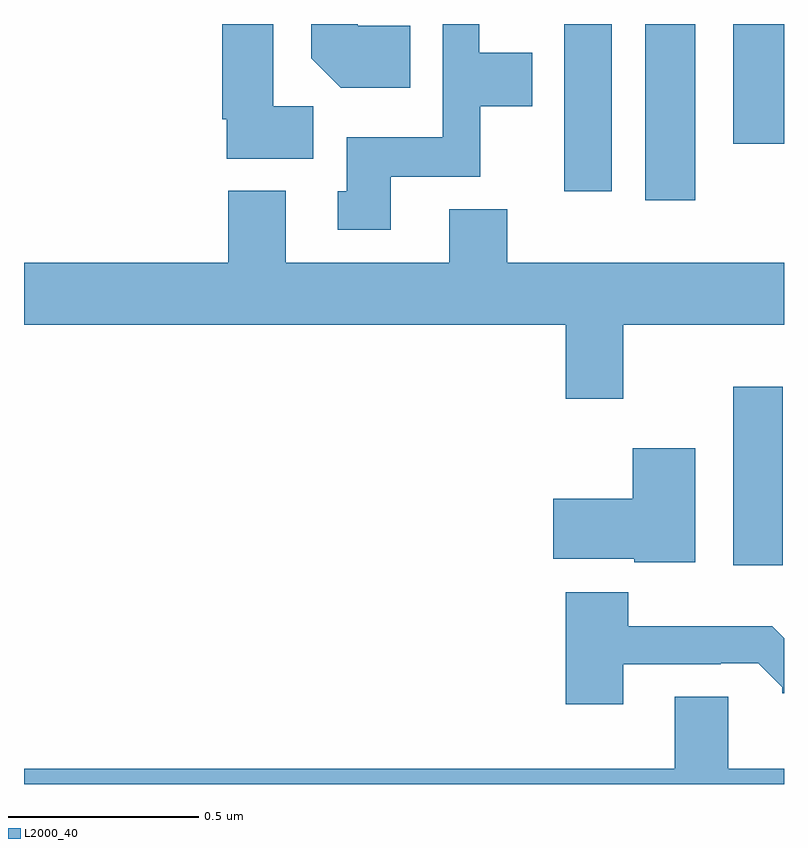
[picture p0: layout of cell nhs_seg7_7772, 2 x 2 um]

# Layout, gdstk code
import gdstk
lib = gdstk.Library(unit=1e-6, precision=1e-09)
def R(c, l, rs):  # rectangles x0, y0, x1, y1
    for r in rs: c.add(gdstk.rectangle(r[:2], r[2:], *l))
def P(c, l, *ps):  # polygons
    for p in ps: c.add(gdstk.Polygon(p, *l))
L2000_40 = (2000, 40)

nhs_seg7_7772 = lib.new_cell('nhs_seg7_7772')
R(nhs_seg7_7772, L2000_40, [(216.866,1074.576,216.997,1075.045), (216.635,1075.536,216.766,1076), (216.422,1075.56,216.547,1076), (216.866,1075.685,217,1075.999)])
P(nhs_seg7_7772, L2000_40, [(215.965,1075.598),(216.201,1075.598),(216.201,1075.784),(216.337,1075.784),(216.337,1075.924),(216.198,1075.924),(216.198,1076),(216.102,1076),(216.102,1075.702),(215.849,1075.702),(215.849,1075.56),(215.825,1075.56),(215.825,1075.458),(215.965,1075.458)],
  [(215.761,1075.784),(215.656,1075.784),(215.656,1076),(215.522,1076),(215.522,1075.75),(215.534,1075.75),(215.534,1075.646),(215.761,1075.646)],
  [(216.017,1075.996),(215.878,1075.996),(215.878,1076),(215.756,1076),(215.756,1075.91),(215.834,1075.832),(216.017,1075.832)],
  [(216.577,1075.208),(217,1075.208),(217,1075.372),(216.272,1075.372),(216.272,1075.513),(216.119,1075.513),(216.119,1075.372),(215.689,1075.372),(215.689,1075.561),(215.537,1075.561),(215.537,1075.372),(215,1075.372),(215,1075.208),(216.425,1075.208),(216.425,1075.014),(216.577,1075.014)],
  [(216.766,1074.883),(216.602,1074.883),(216.602,1074.751),(216.393,1074.751),(216.393,1074.593),(216.606,1074.593),(216.606,1074.584),(216.766,1074.584)],
  [(216.577,1074.315),(216.833,1074.315),(216.833,1074.318),(216.932,1074.318),(216.996,1074.254),(216.996,1074.239),(217,1074.239),(217,1074.384),(216.969,1074.415),(216.59,1074.415),(216.59,1074.505),(216.425,1074.505),(216.425,1074.21),(216.577,1074.21)],
  [(217,1074.04),(216.853,1074.04),(216.853,1074.23),(216.713,1074.23),(216.713,1074.04),(215,1074.04),(215,1074),(217,1074)])

lib.write_gds('nhs_seg7_7772.gds')
